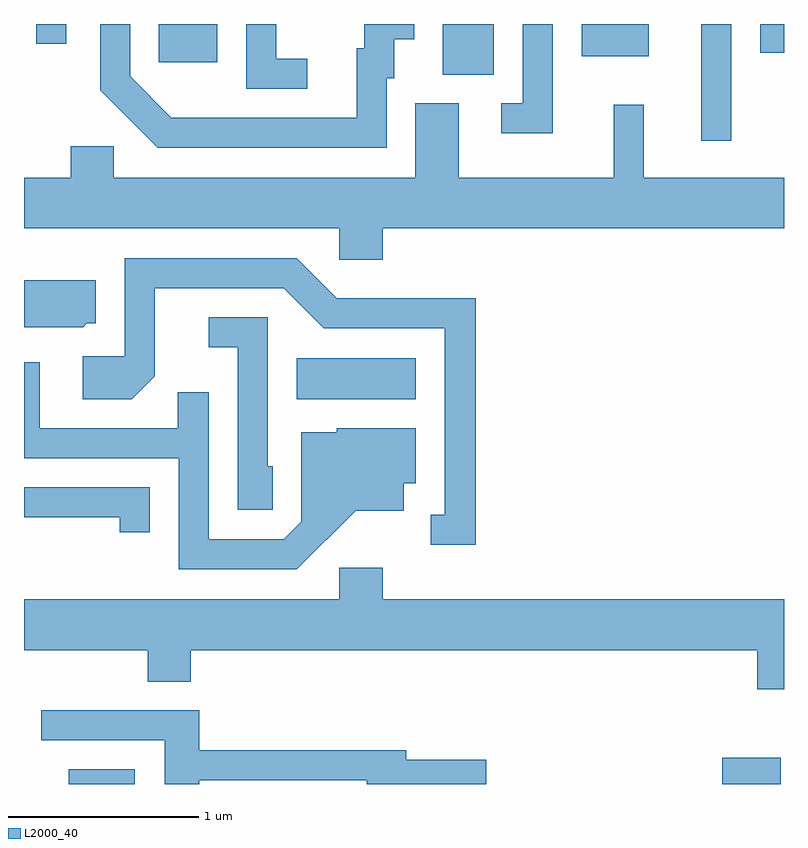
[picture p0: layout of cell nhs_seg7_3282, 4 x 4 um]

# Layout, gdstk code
import gdstk
lib = gdstk.Library(unit=1e-6, precision=1e-09)
def R(c, l, rs):  # rectangles x0, y0, x1, y1
    for r in rs: c.add(gdstk.rectangle(r[:2], r[2:], *l))
def P(c, l, *ps):  # polygons
    for p in ps: c.add(gdstk.Polygon(p, *l))
L2000_40 = (2000, 40)

nhs_seg7_3282 = lib.new_cell('nhs_seg7_3282')
R(nhs_seg7_3282, L2000_40, [(285.846,1740.252,286.194,1740.329), (289.286,1740.252,289.594,1740.389), (287.046,1742.276,287.674,1742.494), (289.176,1743.638,289.334,1744.252), (287.816,1743.986,288.084,1744.252), (286.321,1744.051,286.629,1744.252), (288.546,1744.081,288.899,1744.252), (289.486,1744.101,289.611,1744.252), (285.676,1744.148,285.834,1744.252)])
P(nhs_seg7_3282, L2000_40, [(288.394,1744.252),(288.236,1744.252),(288.236,1743.834),(288.123,1743.834),(288.123,1743.676),(288.394,1743.676)],
  [(287.519,1743.966),(287.559,1743.966),(287.559,1744.171),(287.664,1744.171),(287.664,1744.252),(287.401,1744.252),(287.401,1744.124),(287.361,1744.124),(287.361,1743.759),(286.387,1743.759),(286.169,1743.977),(286.169,1744.252),(286.011,1744.252),(286.011,1743.904),(286.314,1743.601),(287.519,1743.601)],
  [(287.103,1744.069),(286.939,1744.069),(286.939,1744.252),(286.781,1744.252),(286.781,1743.911),(287.103,1743.911)],
  [(287.499,1743.176),(289.611,1743.176),(289.611,1743.444),(288.874,1743.444),(288.874,1743.828),(288.716,1743.828),(288.716,1743.444),(287.899,1743.444),(287.899,1743.834),(287.671,1743.834),(287.671,1743.444),(286.084,1743.444),(286.084,1743.609),(285.856,1743.609),(285.856,1743.444),(285.611,1743.444),(285.611,1743.176),(287.271,1743.176),(287.271,1743.011),(287.499,1743.011)],
  [(287.989,1742.809),(287.257,1742.809),(287.047,1743.019),(286.141,1743.019),(286.141,1742.504),(285.921,1742.504),(285.921,1742.276),(286.177,1742.276),(286.299,1742.399),(286.299,1742.861),(286.979,1742.861),(287.189,1742.651),(287.826,1742.651),(287.826,1741.669),(287.753,1741.669),(287.753,1741.511),(287.989,1741.511)],
  [(285.942,1742.676),(285.989,1742.676),(285.989,1742.904),(285.611,1742.904),(285.611,1742.656),(285.922,1742.656)],
  [(286.919,1741.924),(286.894,1741.924),(286.894,1742.709),(286.583,1742.709),(286.583,1742.551),(286.736,1742.551),(286.736,1741.696),(286.919,1741.696)],
  [(287.357,1741.691),(287.609,1741.691),(287.609,1741.836),(287.674,1741.836),(287.674,1742.124),(287.256,1742.124),(287.256,1742.104),(287.071,1742.104),(287.071,1741.632),(286.979,1741.539),(286.584,1741.539),(286.584,1742.313),(286.421,1742.313),(286.421,1742.124),(285.694,1742.124),(285.694,1742.473),(285.611,1742.473),(285.611,1741.966),(286.426,1741.966),(286.426,1741.381),(287.047,1741.381)],
  [(286.274,1741.814),(285.611,1741.814),(285.611,1741.656),(286.116,1741.656),(286.116,1741.578),(286.274,1741.578)],
  [(289.611,1741.224),(287.499,1741.224),(287.499,1741.389),(287.271,1741.389),(287.271,1741.224),(285.611,1741.224),(285.611,1740.956),(286.261,1740.956),(286.261,1740.791),(286.489,1740.791),(286.489,1740.956),(289.471,1740.956),(289.471,1740.751),(289.611,1740.751)],
  [(286.534,1740.271),(287.416,1740.271),(287.416,1740.252),(288.044,1740.252),(288.044,1740.379),(287.624,1740.379),(287.624,1740.429),(286.534,1740.429),(286.534,1740.639),(285.703,1740.639),(285.703,1740.481),(286.351,1740.481),(286.351,1740.252),(286.534,1740.252)])

lib.write_gds('nhs_seg7_3282.gds')
